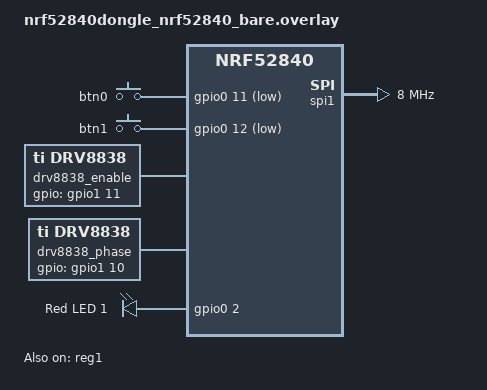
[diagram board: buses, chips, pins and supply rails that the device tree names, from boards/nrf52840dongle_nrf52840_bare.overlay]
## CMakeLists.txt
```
# SPDX-License-Identifier: Apache-2.0

cmake_minimum_required(VERSION 3.20.0)
find_package(Zephyr REQUIRED HINTS $ENV{ZEPHYR_BASE})
project(HvacWaterValve)

set(TARGET app)
add_subdirectory(drivers)
include_directories($<BUILD_INTERFACE:${CMAKE_CURRENT_SOURCE_DIR}/include>
                    $<BUILD_INTERFACE:${CMAKE_CURRENT_SOURCE_DIR}/drivers/include>)
                    
target_sources(${TARGET} PRIVATE
  src/main.cpp
  src/drv8838.cpp
  )
target_link_libraries(${TARGET} PRIVATE drivers)
```

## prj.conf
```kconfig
#
# Copyright (c) 2023 Nordic Semiconductor ASA
#
# SPDX-License-Identifier: Apache-2.0
#

CONFIG_BT=y
CONFIG_BT_PERIPHERAL=y
CONFIG_BT_DEVICE_NAME="BTHome"
CONFIG_CPP=y
#CONFIG_I2C=y
#CONFIG_SPI=y
CONFIG_INPUT=y
CONFIG_GPIO=y

CONFIG_LOG=y
#CONFIG_LOG_MODE_IMMEDIATE=y
CONFIG_BT_LOG_LEVEL_INF=y
CONFIG_BT_CTLR_ADVANCED_FEATURES=y
CONFIG_BT_CTLR_ASSERT_OVERHEAD_START=n
CONFIG_CBPRINTF_FP_SUPPORT=y
CONFIG_MAIN_STACK_SIZE=4096

# LVGL - minimal build, only the label widget enabled
#CONFIG_DISPLAY=y
#CONFIG_LVGL=y
#CONFIG_LV_CONF_MINIMAL=y 
#CONFIG_LV_USE_LABEL=y
#CONFIG_LV_USE_IMAGE=y
#CONFIG_LV_Z_MEM_POOL_SIZE=24000
# Render the whole 300x400 screen in a single buffer/flush instead of
# chunking into multiple VDB-sized bands (the default 10%). Bands
# beyond the first have been observed to get the wrong, byte-rounded
# width from LVGL's chunk-splitting path even though the equivalent
# single-region write is correct - going single-shot sidesteps that
# entirely. 300*400/8 + 8 = 15008 bytes; MEM_POOL_SIZE bumped above to
# fit it plus headroom for other LVGL allocations.
#CONFIG_LV_Z_AUTO_INIT=n
#CONFIG_LV_Z_VDB_SIZE=100
#CONFIG_MAIN_STACK_SIZE=4096
#CONFIG_LV_COLOR_DEPTH_1=y
#CONFIG_LV_USE_THEME_MONO=y
#CONFIG_DISPLAY_LOG_LEVEL_DBG=y
#CONFIG_LV_FONT_MONTSERRAT_36=y
#CONFIG_LV_FONT_DEFAULT_MONTSERRAT_36=y
#CONFIG_DISPLAY_COLOR_PALETTE=n


#CONFIG_KERNEL_LOG_LEVEL_DBG=y
CONFIG_THREAD_NAME=y
CONFIG_USB_DEVICE_STACK_NEXT=n
```

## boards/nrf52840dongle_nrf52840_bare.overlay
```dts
&{/chosen}{
  zephyr,console = &uart0;        
  zephyr,shell-uart = &uart0;     
	zephyr,uart-mcumgr = &uart0;    
	zephyr,bt-mon-uart = &uart0;    
	zephyr,bt-c2h-uart = &uart0;	
};

/{
	gpio_keys{
		compatible= "gpio-keys";
		btn0: button_0{
			gpios = <&gpio0 11 GPIO_ACTIVE_LOW>;
			zephyr,code=<INPUT_KEY_0>;
		};
		btn1: button_1{
			gpios = <&gpio0 12 GPIO_ACTIVE_LOW>;
			zephyr,code=<INPUT_KEY_1>;
		};
	};

	drv8838_enable: drv8838_enable{
      compatible = "ti,drv8838";
      gpios = <&gpio1 11 GPIO_ACTIVE_HIGH>;
    };

    drv8838_phase: drv8838_phase{
      compatible = "ti,drv8838";
      gpios = <&gpio1 10 GPIO_ACTIVE_HIGH>;
    };
};

/delete-node/ &usbd;

&uart0_default{
		group1 {
			psels = <NRF_PSEL(UART_TX, 0, 4)>;  /* 5 */
		};
    group2 {
			psels = <NRF_PSEL(UART_RX, 0, 5)>;  /* 7 */
			bias-pull-up;
		};
	};

&uart0_sleep {
		group1 {
			psels = <NRF_PSEL(UART_RX, 0, 8)>,
				<NRF_PSEL(UART_RTS, 0, 5)>,
				<NRF_PSEL(UART_CTS, 0, 7)>;
			low-power-enable;
		};

		group2 {
			psels = <NRF_PSEL(UART_TX, 0, 6)>;
			low-power-enable;
			bias-pull-up;
		};
	};


/*
&pwm0_default {
		group1 {
			psels = <NRF_PSEL(PWM_OUT0, 0, 11)>,
				<NRF_PSEL(PWM_OUT1, 0,13)>,
				<NRF_PSEL(PWM_OUT2, 0, 14)>;
			nordic,invert;
		};
};

&pwm0_sleep {
		group1 {
			psels = <NRF_PSEL(PWM_OUT0, 0, 11)>,
				<NRF_PSEL(PWM_OUT1, 0, 13)>,
				<NRF_PSEL(PWM_OUT2, 0, 14)>;
			low-power-enable;
	};
};
*/
&led1_red {
			gpios = <&gpio0 2 GPIO_ACTIVE_HIGH>;
			label = "Red LED 1";
		};

&i2c0_default{
	group1 {
			psels = <NRF_PSEL(TWIM_SDA, 0, 23)>, /* 25 */
				<NRF_PSEL(TWIM_SCL, 0, 24)>;       /* 27 */
	};
};	

&spi1_default{
	group1{
		psels = <NRF_PSEL(SPIM_SCK,0,14)>,  /* 14 */
						<NRF_PSEL(SPIM_MOSI,0,31)>; /* 18 */
	};
};

&spi1{
	cs-gpios =<&gpio0 30 GPIO_ACTIVE_LOW>; /* 20 */
	clock-frequency = <DT_FREQ_M(8)>;
};

&reg0{
	status="disabled";
};

&reg1{
	status="okay";
};
```

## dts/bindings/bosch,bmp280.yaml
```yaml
description: |
  Bosch BMP280 pressure and temperature sensor accessed through I2C bus

compatible: "bosch,bmp280"

include: [i2c-device.yaml, sensor-device.yaml]

properties:
  osrs-p:
    type: int
    required: true
    description: "Default pressure oversampling rate"

  osrs-t:
    type: int
    required: true
    description: "Default pressure oversampling rate."

  mode:
    type: int
    required: true
    description: "Power Modes"
    # power mode Sleep = 0, Force = 1 Normal = 3
    enum:
      - 0
      - 1
      - 3

  filter:
    type: int
    required: true
    description: "Filter settings"
```

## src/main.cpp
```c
/* main.c - Application main entry point */

/*
 * Copyright (c) 2015-2016 Intel Corporation
 *
 * SPDX-License-Identifier: Apache-2.0
 */

#include <zephyr/types.h>
#include <stddef.h>
#include <string.h>
#include <errno.h>
#include <zephyr/sys/printk.h>
#include <zephyr/sys/byteorder.h>
#include <zephyr/kernel.h>
#include <zephyr/logging/log.h>
#include <zephyr/drivers/gpio.h>
#include <zephyr/device.h>
#include <zephyr/input/input.h>
LOG_MODULE_REGISTER(main_app, LOG_LEVEL_ERR);
#include "motorBuilder.h"
#include "bluetooth.h"

static constexpr struct gpio_dt_spec sw0 =
    GPIO_DT_SPEC_GET_OR(DT_NODELABEL(btn0), gpios, {0}); 
static constexpr struct gpio_dt_spec sw1 =
    GPIO_DT_SPEC_GET_OR(DT_NODELABEL(btn1), gpios, {0}); 

drv8838MotorBuilder drv8838MotorBuilder;
motorInterface *WaterValve = drv8838MotorBuilder.factoryMethod();

#define ENABLE_BLE


static void switch_callback_handler(struct input_event *evt,
				    void *user_data)
{
	
	if(evt->sync == 0)
	{
		return;
	}
	
	if(evt->code == INPUT_KEY_0 && evt->value == 1)
	{
		//LOG_INF("SW0 pressed");
		WaterValve->Up(0x0);
	}
	if(evt->code == INPUT_KEY_1 && evt->value == 1)
	{
		//LOG_INF("SW1 pressed");
		WaterValve->Down(0x0);
	}
}


int main(int argc, char *argv[])
{

	INPUT_CALLBACK_DEFINE(NULL, switch_callback_handler, NULL);

	k_sleep(K_FOREVER);

	return 0;
}
```

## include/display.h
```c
#pragma once

#include <stdint.h>

/*
 * Publishes the latest sensor readings to the display thread. Non-blocking -
 * safe to call from any thread. Only the most recent reading is kept; the
 * display thread redraws a label only when its rounded integer value has
 * changed.
 */
void display_update_readings(float temperature_c, uint32_t pressure_pa, float humidity_pct, bool);
void display_bmp280_dashes();
void display_aht20_dashes();
```

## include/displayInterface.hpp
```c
#pragma once

template <typename typeErr>
class displayInterface
{

public:
  virtual ~displayInterface() = default;
  virtual typeErr SetInterface(busInterface *) = 0;
  virtual typeErr Init(void) = 0;
  virtual typeErr Update(void) = 0;
  virtual typeErr PowerOn(void) = 0;
  virtual typeErr PowerOff(void) = 0;
  virtual typeErr ClearScreen(void) = 0;
  virtual typeErr SetBuffer(uint8_t *) = 0;
};
```

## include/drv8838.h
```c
#pragma once

class drv8838: public motorInterface
{

public:
  drv8838();
  ~drv8838(){};
  void Right(uint8_t) override;
  void Left(uint8_t) override;
  void Down(uint8_t) override;
  void Up(uint8_t) override;
  void Idle(uint8_t) override;

};
```

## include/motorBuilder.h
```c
#pragma once
#include "motorInterface.h"
#include "drv8838.h"


class motorBuilder{
  public:
    virtual ~motorBuilder(){};
    virtual motorInterface *factoryMethod(void)=0;

};

class drv8838MotorBuilder : public motorBuilder
{
  public:
    motorInterface *factoryMethod(void) override{     
      return new drv8838();
  }

};
```

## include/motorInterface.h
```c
#pragma once

class motorInterface
{

public:
  virtual ~motorInterface() {};
  virtual void Idle(uint8_t) = 0;
  virtual void Right(uint8_t) = 0;
  virtual void Left(uint8_t) = 0;
  virtual void Down(uint8_t) = 0;
  virtual void Up(uint8_t) = 0;
};
```

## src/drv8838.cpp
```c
#include <zephyr/kernel.h>
#include <zephyr/drivers/gpio.h>
#include <zephyr/device.h>
#include "motorInterface.h"
#include "drv8838.h"
#define ACTIVEPULSEMS   50

#if !DT_NODE_EXISTS(DT_NODELABEL(drv8838_enable))
#error "Overlay for drv8838 enable pin not defined."
#endif
#if !DT_NODE_EXISTS(DT_NODELABEL(drv8838_phase))
#error "Overlay for drv8838 enable pin not defined."
#endif

static constexpr struct gpio_dt_spec enable =
    GPIO_DT_SPEC_GET_OR(DT_NODELABEL(drv8838_enable), gpios, {0}); 
static constexpr struct gpio_dt_spec phase =
    GPIO_DT_SPEC_GET_OR(DT_NODELABEL(drv8838_phase), gpios, {0}); 


drv8838::drv8838()
{
  if(gpio_is_ready_dt(&enable)) 
  {	
    gpio_pin_configure_dt(&enable,GPIO_OUTPUT_INACTIVE);
    gpio_pin_configure_dt(&phase,GPIO_OUTPUT_INACTIVE);
  }
}

void drv8838::Right(uint8_t side)
{
}

void drv8838::Left(uint8_t side)
{
}

void drv8838::Down(uint8_t side)
{  
  
  gpio_pin_set_dt(&phase,0);
  gpio_pin_set_dt(&enable,1);
  k_sleep(K_MSEC(ACTIVEPULSEMS));
  Idle(0x0);
}

void drv8838::Up(uint8_t side)
{  
  
  gpio_pin_set_dt(&phase,1);
  gpio_pin_set_dt(&enable,1);
  k_sleep(K_MSEC(ACTIVEPULSEMS));
  Idle(0x0);
}

void drv8838::Idle(uint8_t side)
{
  gpio_pin_set_dt(&enable,0);
}
```
